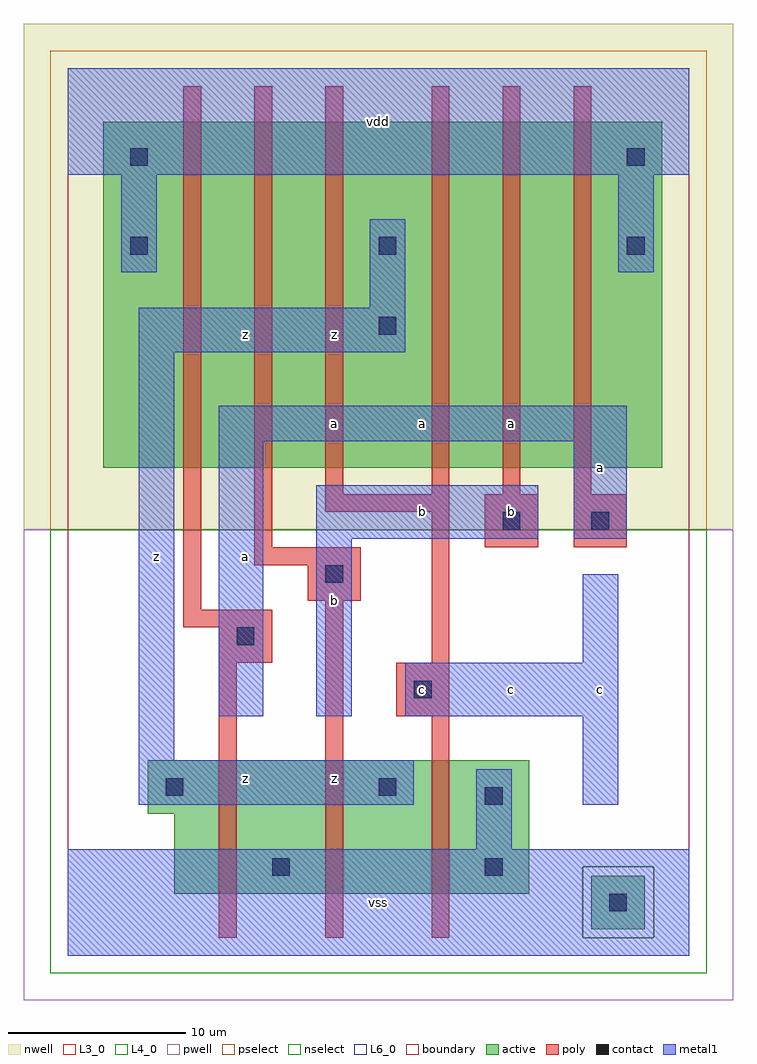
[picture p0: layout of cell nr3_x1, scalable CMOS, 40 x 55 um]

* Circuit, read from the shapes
.subckt nr3_x1 a b c vdd vss z
M1 vss a z vss nfet w=7.5u l=1u
M2 z b vss vss nfet w=7.5u l=1u
M3 vss c z vss nfet w=7.5u l=1u
M4 n1 a vdd n2 pfet w=19.5u l=1u
M5 n3 b n1 n2 pfet w=19.5u l=1u
M6 z c n3 n2 pfet w=19.5u l=1u
M7 n4 c z n2 pfet w=19.5u l=1u
M8 n5 b n4 n2 pfet w=19.5u l=1u
M9 vdd a n5 n2 pfet w=19.5u l=1u
.ends

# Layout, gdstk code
import gdstk
lib = gdstk.Library(unit=1e-6, precision=1e-09)
def R(c, l, rs):  # rectangles x0, y0, x1, y1
    for r in rs: c.add(gdstk.rectangle(r[:2], r[2:], *l))
def A(c, l, x, y, w, h, nx, ny, dx, dy):  # array of equal rectangles
    R(c, l, [(x+i*dx, y+j*dy, x+i*dx+w, y+j*dy+h) for i in range(nx) for j in range(ny)])
L3_0 = (3, 0)
L4_0 = (4, 0)
L6_0 = (6, 0)
contact = (25, 0)
pwell = (41, 0)
nwell = (42, 0)
active = (43, 0)
pselect = (44, 0)
nselect = (45, 0)
poly = (46, 0)
metal1 = (49, 0)
boundary = (63, 0)

nr3_x1 = lib.new_cell('nr3_x1')
R(nr3_x1, L3_0, [(6,3.5,26,8), (4.5,8,26,11)])
R(nr3_x1, L4_0, [(2,27.5,33.5,47)])
R(nr3_x1, L6_0, [(29.5,1.5,32.5,4.5)])
A(nr3_x1, contact, 3.5, 39.5, 1, 1, 3, 1, 14, 0)
R(nr3_x1, contact, [(30.5,2.5,31.5,3.5), (11.5,4.5,12.5,5.5), (23.5,4.5,24.5,5.5), (23.5,8.5,24.5,9.5), (5.5,9,6.5,10), (17.5,9,18.5,10), (19.5,14.5,20.5,15.5), (9.5,17.5,10.5,18.5), (14.5,21,15.5,22), (24.5,24,25.5,25), (29.5,24,30.5,25), (17.5,35,18.5,36), (3.5,44.5,4.5,45.5), (31.5,44.5,32.5,45.5)])
R(nr3_x1, pwell, [(-2.5,-2.5,37.5,24)])
R(nr3_x1, nwell, [(-2.5,24,37.5,52.5)])
R(nr3_x1, active, [(29.5,1.5,32.5,4.5), (6,3.5,26,8), (4.5,8,26,11), (2,27.5,33.5,47)])
R(nr3_x1, pselect, [(29,1,33,5), (-1,24,36,51)])
R(nr3_x1, nselect, [(-1,-1,36,1), (-1,1,29,5), (33,1,36,5), (-1,5,36,24)])
A(nr3_x1, poly, 20.5, 26, 1, 23, 3, 1, 4, 0)
R(nr3_x1, poly, [(8.5,1,9.5,16.5), (14.5,1,15.5,20), (20.5,1,21.5,13.5), (18.5,13.5,21.5,16.5), (8.5,16.5,11.5,18.5), (20.5,16.5,21.5,25), (6.5,18.5,11.5,19.5), (6.5,19.5,7.5,49), (13.5,20,16.5,22), (10.5,22,16.5,23), (10.5,23,11.5,49), (23.5,23,26.5,26), (28.5,23,31.5,26), (14.5,25,21.5,26), (14.5,26,15.5,49)])
R(nr3_x1, metal1, [(0,0,35,6), (0,0,35,6), (23,6,25,10.5), (23,6,25,10.5), (4,8.5,19.5,11), (4,8.5,19.5,11), (29,8.5,31,13.5), (29,8.5,31,13.5), (4,11,6,34), (4,11,6,34), (8.5,13.5,11,29), (8.5,13.5,11,29), (14,13.5,16,23.5), (14,13.5,16,23.5), (19,13.5,31,16.5), (19,13.5,31,16.5), (29,16.5,31,21.5), (29,16.5,31,21.5), (14,23.5,26.5,26.5), (14,23.5,26.5,26.5), (28.5,23.5,31.5,29), (28.5,23.5,31.5,29), (8.5,29,31.5,31), (8.5,29,31.5,31), (4,34,19,36.5), (4,34,19,36.5), (17,36.5,19,41.5), (17,36.5,19,41.5), (3,38.5,5,44), (3,38.5,5,44), (31,38.5,33,44), (31,38.5,33,44), (0,44,35,50), (0,44,35,50)])
R(nr3_x1, boundary, [(0,0,35,50)])
nr3_x1.add(gdstk.Label('z', (5,22.5), layer=49, texttype=0))
nr3_x1.add(gdstk.Label('z', (10,10), layer=49, texttype=0))
nr3_x1.add(gdstk.Label('z', (15,10), layer=49, texttype=0))
nr3_x1.add(gdstk.Label('a', (10,22.5), layer=49, texttype=0))
nr3_x1.add(gdstk.Label('b', (15,20), layer=49, texttype=0))
nr3_x1.add(gdstk.Label('z', (10,35), layer=49, texttype=0))
nr3_x1.add(gdstk.Label('z', (15,35), layer=49, texttype=0))
nr3_x1.add(gdstk.Label('a', (15,30), layer=49, texttype=0))
nr3_x1.add(gdstk.Label('vss', (17.5,3), layer=49, texttype=0))
nr3_x1.add(gdstk.Label('c', (25,15), layer=49, texttype=0))
nr3_x1.add(gdstk.Label('c', (20,15), layer=49, texttype=0))
nr3_x1.add(gdstk.Label('b', (20,25), layer=49, texttype=0))
nr3_x1.add(gdstk.Label('b', (25,25), layer=49, texttype=0))
nr3_x1.add(gdstk.Label('a', (20,30), layer=49, texttype=0))
nr3_x1.add(gdstk.Label('a', (25,30), layer=49, texttype=0))
nr3_x1.add(gdstk.Label('vdd', (17.5,47), layer=49, texttype=0))
nr3_x1.add(gdstk.Label('c', (30,15), layer=49, texttype=0))
nr3_x1.add(gdstk.Label('a', (30,27.5), layer=49, texttype=0))

lib.write_gds('nr3_x1.gds')
